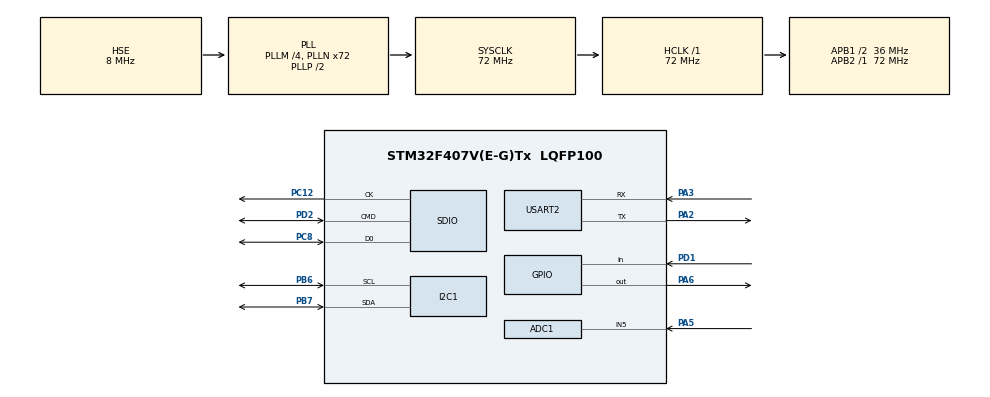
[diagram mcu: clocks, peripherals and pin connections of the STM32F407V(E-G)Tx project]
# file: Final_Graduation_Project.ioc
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ADC1.Channel-2\#ChannelRegularConversion=ADC_CHANNEL_5
ADC1.NbrOfConversionFlag=1
ADC1.Rank-2\#ChannelRegularConversion=1
ADC1.SamplingTime-2\#ChannelRegularConversion=ADC_SAMPLETIME_3CYCLES
ADC1.master=1
FATFS.BSP.number=1
FATFS._MAX_SS=4096
FATFS._USE_LFN=3
FATFS0.BSP.STBoard=false
FATFS0.BSP.api=Unknown
FATFS0.BSP.instance=PD1
FATFS0.BSP.ip=GPIO
FATFS0.BSP.mode=Input
FATFS0.BSP.name=Detect_SDIO
FATFS0.BSP.solution=PD1
Mcu.Family=STM32F4
Mcu.Name=STM32F407V(E-G)Tx
Mcu.Package=LQFP100
NVIC.PriorityGroup=NVIC_PRIORITYGROUP_4
NVIC.TIM6_DAC_IRQn=true\:15\:0\:false\:false\:true\:false\:true\:true
NVIC.TimeBase=TIM6_DAC_IRQn
NVIC.TimeBaseIP=TIM6
NVIC.USART2_IRQn=true\:6\:0\:true\:false\:true\:true\:true\:true
PA13.Mode=Serial_Wire
PA13.Signal=SYS_JTMS-SWDIO
PA14.Mode=Serial_Wire
PA14.Signal=SYS_JTCK-SWCLK
PA2.Mode=Asynchronous
PA2.Signal=USART2_TX
PA3.Mode=Asynchronous
PA3.Signal=USART2_RX
PA5.Signal=ADCx_IN5
PA6.Signal=GPIO_Output
PB6.Mode=I2C
PB6.Signal=I2C1_SCL
PB7.Mode=I2C
PB7.Signal=I2C1_SDA
PC12.Mode=SD_1_bit
PC12.Signal=SDIO_CK
PC14-OSC32_IN.Mode=LSE-External-Oscillator
PC14-OSC32_IN.Signal=RCC_OSC32_IN
PC15-OSC32_OUT.Mode=LSE-External-Oscillator
PC15-OSC32_OUT.Signal=RCC_OSC32_OUT
PC8.Mode=SD_1_bit
PC8.Signal=SDIO_D0
PD1.Signal=GPIO_Input
PD2.Mode=SD_1_bit
PD2.Signal=SDIO_CMD
PH0-OSC_IN.Mode=HSE-External-Oscillator
PH0-OSC_IN.Signal=RCC_OSC_IN
PH1-OSC_OUT.Mode=HSE-External-Oscillator
PH1-OSC_OUT.Signal=RCC_OSC_OUT
ProjectManager.HeapSize=0x200
ProjectManager.StackSize=0x400
ProjectManager.TargetToolchain=STM32CubeIDE
RCC.48MHZClocksFreq_Value=36000000
RCC.AHBFreq_Value=72000000
RCC.APB1CLKDivider=RCC_HCLK_DIV2
RCC.APB1Freq_Value=36000000
RCC.APB1TimFreq_Value=72000000
RCC.APB2Freq_Value=72000000
RCC.APB2TimFreq_Value=72000000
RCC.CortexFreq_Value=72000000
RCC.HCLKFreq_Value=72000000
RCC.HSE_VALUE=8000000
RCC.HSI_VALUE=16000000
RCC.PLLM=4
RCC.PLLN=72
RCC.PLLSourceVirtual=RCC_PLLSOURCE_HSE
RCC.SYSCLKFreq_VALUE=72000000
RCC.SYSCLKSource=RCC_SYSCLKSOURCE_PLLCLK
RCC.VCOOutputFreq_Value=144000000
SDIO.ClockDiv=10
SH.ADCx_IN5.0=ADC1_IN5,IN5
TIM1.Period=65535-1
TIM1.Prescaler=72-1
USART2.VirtualMode=VM_ASYNC
VP_CRC_VS_CRC.Mode=CRC_Activate
VP_FATFS_VS_SDIO.Mode=SDIO
VP_SYS_VS_tim6.Mode=TIM6
VP_TIM1_VS_ClockSourceINT.Mode=Internal
board=custom

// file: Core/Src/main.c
/* USER CODE BEGIN Header */
/**
  ******************************************************************************
  * @file           : main.c
  * @brief          : Main program body
  ******************************************************************************
  * @attention
  *
  * Copyright (c) 2025 STMicroelectronics.
  * All rights reserved.
  *
  * This software is licensed under terms that can be found in the LICENSE file
  * in the root directory of this software component.
  * If no LICENSE file comes with this software, it is provided AS-IS.
  *
  ******************************************************************************
  */
/* USER CODE END Header */
#include "main.h"
#include "fatfs.h"

/* USER CODE BEGIN Includes */
#include "mq135.h"

/* USER CODE END Includes */

/* USER CODE BEGIN PD */
#define MyI2C_LCD I2C_LCD_1

/* USER CODE END PD */

ADC_HandleTypeDef hadc1;

CRC_HandleTypeDef hcrc;

I2C_HandleTypeDef hi2c1;

SD_HandleTypeDef hsd;

TIM_HandleTypeDef htim1;

UART_HandleTypeDef huart2;

/* USER CODE BEGIN PV */
DHT_DataTypedef DHT11_Data;
float Temperature, Humidity;
uint8_t Rh_byte1, Rh_byte2, Temp_byte1, Temp_byte2;
uint16_t SUM; uint8_t Presence = 0;
char str[40];
uint8_t data;
uint8_t bl_rx_buffer[255];
TaskHandle_t cmd_task;
TaskHandle_t measure_task;
TaskHandle_t msg_task;
TaskHandle_t menu_task;
TaskHandle_t led_task;
TaskHandle_t bl_command_task;
TaskHandle_t read_file;
QueueHandle_t q_print;
QueueHandle_t q_data;

TimerHandle_t xTimer;

state curr_state = sMenu;

FATFS FatFs;
FIL Fil;
FRESULT FR_Status;

char TxBuffer[200];

/* USER CODE END PV */

void SystemClock_Config(void);
static void MX_GPIO_Init(void);
static void MX_USART2_UART_Init(void);
static void MX_ADC1_Init(void);
static void MX_I2C1_Init(void);
static void MX_CRC_Init(void);
static void MX_TIM1_Init(void);
static void MX_SDIO_SD_Init(void);

/* USER CODE BEGIN 0 */
void flash_testing(void)
{

	uint8_t protection_mode =2 ;
	uint8_t sector_details = 0x80;

	//Flash option control register (OPTCR)
	volatile uint32_t *pOPTCR = (uint32_t*) 0x40023C14;

	  			//Option byte configuration unlock
			HAL_FLASH_OB_Unlock();

			//wait till no active operation on flash
			while(__HAL_FLASH_GET_FLAG(FLASH_FLAG_BSY) != RESET);

			//here wer are setting read and write protection for the sectors
			//set the 31st bit
			//please refer : Flash option control register (FLASH_OPTCR) in RM
			*pOPTCR |= (1 << 31);

			//put write protection on sectors
	    *pOPTCR &= ~(0xff << 16);
			*pOPTCR |= (sector_details << 16);

			//Set the option start bit (OPTSTRT) in the FLASH_OPTCR register
			*pOPTCR |= ( 1 << 1);

			//wait till no active operation on flash
			while(__HAL_FLASH_GET_FLAG(FLASH_FLAG_BSY) != RESET);

			HAL_FLASH_OB_Lock();
}

/* USER CODE END 0 */

int main(void)
{

  /* MCU Configuration--------------------------------------------------------*/

  /* Reset of all peripherals, Initializes the Flash interface and the Systick. */
  HAL_Init();

  /* Configure the system clock */
  SystemClock_Config();

  /* Initialize all configured peripherals */
  MX_GPIO_Init();
  MX_USART2_UART_Init();
  MX_ADC1_Init();
  MX_I2C1_Init();
  MX_CRC_Init();
  MX_TIM1_Init();
  MX_SDIO_SD_Init();
  MX_FATFS_Init();
  /* USER CODE BEGIN 2 */
//  FR_Status = f_mount(&FatFs, SDPath, 1);
//  if (FR_Status != FR_OK)
//  {
//    snprintf(TxBuffer, sizeof(TxBuffer), "Error! While Mounting SD Card, Error Code: (%i)\r\n", FR_Status);
//    HAL_UART_Transmit(&huart2, (uint8_t*)TxBuffer, strlen(TxBuffer), HAL_MAX_DELAY);
//  }
//  else
//  {
//    snprintf(TxBuffer, sizeof(TxBuffer), "SD Card Mounted Successfully!\r\n");
//    HAL_UART_Transmit(&huart2, (uint8_t*)TxBuffer, strlen(TxBuffer), HAL_MAX_DELAY);
//  }

  HAL_UART_Receive_IT(&huart2, (uint8_t*)&data, 1);

  xTaskCreate(handle_cmd_task, "Handle command", 200, NULL, 2, &cmd_task);

  xTaskCreate(handle_measure_task, "measure qual of env ", 200, NULL, 2, &measure_task);

  xTaskCreate(printmsg, "Display menu", 200, NULL, 2, &msg_task);

  xTaskCreate(handle_menu_task, "Menu options", 200, NULL, 2, &menu_task);

  xTaskCreate(handle_led_task, "LED blinking", 200, NULL, 2, &led_task);

  xTaskCreate(handle_bl_cmd_task, "Bootloader Command Process", 200, NULL, 2, &bl_command_task);

  xTaskCreate(SDIO_SDCard, "read file", 512, NULL, 2, &read_file); // Increased stack size

  xTimer = xTimerCreate("Timer", pdMS_TO_TICKS(500), pdTRUE, 1, vTimerCallback);

  q_print = xQueueCreate(10, sizeof(size_t));

  q_data = xQueueCreate(11, sizeof(uint8_t));

  vTaskStartScheduler();

  /* USER CODE END 2 */

  /* Infinite loop */
  while (1)
  {

  }
}

void SystemClock_Config(void)
{
  RCC_OscInitTypeDef RCC_OscInitStruct = {0};
  RCC_ClkInitTypeDef RCC_ClkInitStruct = {0};

  /** Configure the main internal regulator output voltage
  */
  __HAL_RCC_PWR_CLK_ENABLE();
  __HAL_PWR_VOLTAGESCALING_CONFIG(PWR_REGULATOR_VOLTAGE_SCALE1);

  /** Initializes the RCC Oscillators according to the specified parameters
  * in the RCC_OscInitTypeDef structure.
  */
  RCC_OscInitStruct.OscillatorType = RCC_OSCILLATORTYPE_HSE;
  RCC_OscInitStruct.HSEState = RCC_HSE_ON;
  RCC_OscInitStruct.PLL.PLLState = RCC_PLL_ON;
  RCC_OscInitStruct.PLL.PLLSource = RCC_PLLSOURCE_HSE;
  RCC_OscInitStruct.PLL.PLLM = 4;
  RCC_OscInitStruct.PLL.PLLN = 72;
  RCC_OscInitStruct.PLL.PLLP = RCC_PLLP_DIV2;
  RCC_OscInitStruct.PLL.PLLQ = 4;
  if (HAL_RCC_OscConfig(&RCC_OscInitStruct) != HAL_OK)
  {
    Error_Handler();
  }

  /** Initializes the CPU, AHB and APB buses clocks
  */
  RCC_ClkInitStruct.ClockType = RCC_CLOCKTYPE_HCLK|RCC_CLOCKTYPE_SYSCLK
                              |RCC_CLOCKTYPE_PCLK1|RCC_CLOCKTYPE_PCLK2;
  RCC_ClkInitStruct.SYSCLKSource = RCC_SYSCLKSOURCE_PLLCLK;
  RCC_ClkInitStruct.AHBCLKDivider = RCC_SYSCLK_DIV1;
  RCC_ClkInitStruct.APB1CLKDivider = RCC_HCLK_DIV2;
  RCC_ClkInitStruct.APB2CLKDivider = RCC_HCLK_DIV1;

  if (HAL_RCC_ClockConfig(&RCC_ClkInitStruct, FLASH_LATENCY_2) != HAL_OK)
  {
    Error_Handler();
  }
}

static void MX_ADC1_Init(void)
{

  ADC_ChannelConfTypeDef sConfig = {0};

  /** Configure the global features of the ADC (Clock, Resolution, Data Alignment and number of conversion)
  */
  hadc1.Instance = ADC1;
  hadc1.Init.ClockPrescaler = ADC_CLOCK_SYNC_PCLK_DIV2;
  hadc1.Init.Resolution = ADC_RESOLUTION_12B;
  hadc1.Init.ScanConvMode = DISABLE;
  hadc1.Init.ContinuousConvMode = DISABLE;
  hadc1.Init.DiscontinuousConvMode = DISABLE;
  hadc1.Init.ExternalTrigConvEdge = ADC_EXTERNALTRIGCONVEDGE_NONE;
  hadc1.Init.ExternalTrigConv = ADC_SOFTWARE_START;
  hadc1.Init.DataAlign = ADC_DATAALIGN_RIGHT;
  hadc1.Init.NbrOfConversion = 1;
  hadc1.Init.DMAContinuousRequests = DISABLE;
  hadc1.Init.EOCSelection = ADC_EOC_SINGLE_CONV;
  if (HAL_ADC_Init(&hadc1) != HAL_OK)
  {
    Error_Handler();
  }

  /** Configure for the selected ADC regular channel its corresponding rank in the sequencer and its sample time.
  */
  sConfig.Channel = ADC_CHANNEL_5;
  sConfig.Rank = 1;
  sConfig.SamplingTime = ADC_SAMPLETIME_3CYCLES;
  if (HAL_ADC_ConfigChannel(&hadc1, &sConfig) != HAL_OK)
  {
    Error_Handler();
  }

}

static void MX_CRC_Init(void)
{

  hcrc.Instance = CRC;
  if (HAL_CRC_Init(&hcrc) != HAL_OK)
  {
    Error_Handler();
  }

}

static void MX_I2C1_Init(void)
{

  hi2c1.Instance = I2C1;
  hi2c1.Init.ClockSpeed = 100000;
  hi2c1.Init.DutyCycle = I2C_DUTYCYCLE_2;
  hi2c1.Init.OwnAddress1 = 0;
  hi2c1.Init.AddressingMode = I2C_ADDRESSINGMODE_7BIT;
  hi2c1.Init.DualAddressMode = I2C_DUALADDRESS_DISABLE;
  hi2c1.Init.OwnAddress2 = 0;
  hi2c1.Init.GeneralCallMode = I2C_GENERALCALL_DISABLE;
  hi2c1.Init.NoStretchMode = I2C_NOSTRETCH_DISABLE;
  if (HAL_I2C_Init(&hi2c1) != HAL_OK)
  {
    Error_Handler();
  }

}

static void MX_SDIO_SD_Init(void)
{

  hsd.Instance = SDIO;
  hsd.Init.ClockEdge = SDIO_CLOCK_EDGE_RISING;
  hsd.Init.ClockBypass = SDIO_CLOCK_BYPASS_DISABLE;
  hsd.Init.ClockPowerSave = SDIO_CLOCK_POWER_SAVE_DISABLE;
  hsd.Init.BusWide = SDIO_BUS_WIDE_1B;
  hsd.Init.HardwareFlowControl = SDIO_HARDWARE_FLOW_CONTROL_DISABLE;
  hsd.Init.ClockDiv = 10;

}

static void MX_TIM1_Init(void)
{

  TIM_ClockConfigTypeDef sClockSourceConfig = {0};
  TIM_MasterConfigTypeDef sMasterConfig = {0};

  htim1.Instance = TIM1;
  htim1.Init.Prescaler = 72-1;
  htim1.Init.CounterMode = TIM_COUNTERMODE_UP;
  htim1.Init.Period = 65535-1;
  htim1.Init.ClockDivision = TIM_CLOCKDIVISION_DIV1;
  htim1.Init.RepetitionCounter = 0;
  htim1.Init.AutoReloadPreload = TIM_AUTORELOAD_PRELOAD_DISABLE;
  if (HAL_TIM_Base_Init(&htim1) != HAL_OK)
  {
    Error_Handler();
  }
  sClockSourceConfig.ClockSource = TIM_CLOCKSOURCE_INTERNAL;
  if (HAL_TIM_ConfigClockSource(&htim1, &sClockSourceConfig) != HAL_OK)
  {
    Error_Handler();
  }
  sMasterConfig.MasterOutputTrigger = TIM_TRGO_RESET;
  sMasterConfig.MasterSlaveMode = TIM_MASTERSLAVEMODE_DISABLE;
  if (HAL_TIMEx_MasterConfigSynchronization(&htim1, &sMasterConfig) != HAL_OK)
  {
    Error_Handler();
  }
  /* USER CODE BEGIN TIM1_Init 2 */
  HAL_TIM_Base_Start(&htim1);

  /* USER CODE END TIM1_Init 2 */

}

static void MX_USART2_UART_Init(void)
{

  huart2.Instance = USART2;
  huart2.Init.BaudRate = 115200;
  huart2.Init.WordLength = UART_WORDLENGTH_8B;
  huart2.Init.StopBits = UART_STOPBITS_1;
  huart2.Init.Parity = UART_PARITY_NONE;
  huart2.Init.Mode = UART_MODE_TX_RX;
  huart2.Init.HwFlowCtl = UART_HWCONTROL_NONE;
  huart2.Init.OverSampling = UART_OVERSAMPLING_16;
  if (HAL_UART_Init(&huart2) != HAL_OK)
  {
    Error_Handler();
  }

}

static void MX_GPIO_Init(void)
{
  GPIO_InitTypeDef GPIO_InitStruct = {0};

  /* GPIO Ports Clock Enable */
  __HAL_RCC_GPIOC_CLK_ENABLE();
  __HAL_RCC_GPIOH_CLK_ENABLE();
  __HAL_RCC_GPIOA_CLK_ENABLE();
  __HAL_RCC_GPIOD_CLK_ENABLE();
  __HAL_RCC_GPIOB_CLK_ENABLE();

  /*Configure GPIO pin Output Level */
  HAL_GPIO_WritePin(GPIOA, GPIO_PIN_6, GPIO_PIN_RESET);

  /*Configure GPIO pin : PA6 */
  GPIO_InitStruct.Pin = GPIO_PIN_6;
  GPIO_InitStruct.Mode = GPIO_MODE_OUTPUT_PP;
  GPIO_InitStruct.Pull = GPIO_NOPULL;
  GPIO_InitStruct.Speed = GPIO_SPEED_FREQ_LOW;
  HAL_GPIO_Init(GPIOA, &GPIO_InitStruct);

  /*Configure GPIO pin : PD1 */
  GPIO_InitStruct.Pin = GPIO_PIN_1;
  GPIO_InitStruct.Mode = GPIO_MODE_INPUT;
  GPIO_InitStruct.Pull = GPIO_NOPULL;
  HAL_GPIO_Init(GPIOD, &GPIO_InitStruct);

}

/* USER CODE BEGIN 4 */

void vTimerCallback (TimerHandle_t xTimer)
{
	HAL_GPIO_TogglePin(GPIOA, GPIO_PIN_6);
}

void handle_measure_task(void *params)
{
	char str[40];
	float co2_sense = 0;
	I2C_LCD_Init(MyI2C_LCD);
	while(1)
	{
		DHT_GetData(&DHT11_Data);
		Temperature = DHT11_Data.Temperature;
		Humidity = DHT11_Data.Humidity;
		HAL_ADC_Start(&hadc1);
		co2_sense = getPPM();
		sprintf(str, "Temperature: %.0f", Temperature);
		I2C_LCD_Clear(MyI2C_LCD);
		I2C_LCD_SetCursor(MyI2C_LCD, 0, 0);
		I2C_LCD_WriteString(MyI2C_LCD, str);
		I2C_LCD_WriteChar(MyI2C_LCD, (char)223);
		I2C_LCD_WriteChar(MyI2C_LCD, 'C');
		sprintf(str, "Humidity: %.0fRH", Humidity);
		I2C_LCD_SetCursor(MyI2C_LCD, 0, 1);
		I2C_LCD_WriteString(MyI2C_LCD, str);
		sprintf(str, "rela_ppm: %.4f", co2_sense);
		I2C_LCD_SetCursor(MyI2C_LCD, 0, 2);
		I2C_LCD_WriteString(MyI2C_LCD, str);
//		I2C_LCD_SetCursor(MyI2C_LCD, 0, 1);
		vTaskDelay(pdMS_TO_TICKS(1000));

	}
}

void delay_us(volatile uint16_t us)
{
//	taskENTER_CRITICAL();
	htim1.Instance->CNT = 0;
	while (htim1.Instance->CNT < us);
//	taskEXIT_CRITICAL();
}

void delay_ms(volatile uint16_t ms)
{
//	taskENTER_CRITICAL();
	while(ms > 0)
	{
		htim1.Instance->CNT = 0;
		ms--;
		while (htim1.Instance->CNT < 1000);
	}
//	taskEXIT_CRITICAL();
}

void Set_Pin_Output(GPIO_TypeDef *GPIOx, uint16_t GPIO_Pin) {
    GPIO_InitTypeDef GPIO_InitStruct = {0};
    GPIO_InitStruct.Pin = GPIO_PIN_15;
    GPIO_InitStruct.Mode = GPIO_MODE_OUTPUT_PP;
    GPIO_InitStruct.Pull = GPIO_NOPULL;
    GPIO_InitStruct.Speed = GPIO_SPEED_FREQ_LOW;
    HAL_GPIO_Init(GPIOB, &GPIO_InitStruct);
}

void Set_Pin_Input(GPIO_TypeDef *GPIOx, uint16_t GPIO_Pin) {
    GPIO_InitTypeDef GPIO_InitStruct = {0};
    GPIO_InitStruct.Pin = GPIO_PIN_15;
    GPIO_InitStruct.Mode = GPIO_MODE_INPUT;
    GPIO_InitStruct.Pull = GPIO_NOPULL;
    HAL_GPIO_Init(GPIOB, &GPIO_InitStruct);
}

// DHT11 start signal
void DHT_Start(void) {
    Set_Pin_Output(GPIOB, GPIO_PIN_15); // Set pin as output
    HAL_GPIO_WritePin(GPIOB, GPIO_PIN_15, 0); // Pull low
    delay_ms(18); // Wait 18 ms
    HAL_GPIO_WritePin(GPIOB, GPIO_PIN_15, 1); // Pull high
    delay_us(30); // Wait 20–40 µs (30 µs is a safe midpoint)
    Set_Pin_Input(GPIOB, GPIO_PIN_15); // Set pin as input
}

// Check DHT11 response
uint8_t DHT_Check_Response(void) {
    uint8_t Response = 0;
    delay_us(40); // Wait for end of 80 µs low pulse
    if (!HAL_GPIO_ReadPin(GPIOB, GPIO_PIN_15)) { // Low pulse detected
        delay_us(80); // Wait for 80 µs high pulse
        if (HAL_GPIO_ReadPin(GPIOB, GPIO_PIN_15)) { // High pulse detected
            Response = 1; // Valid response
        } else {
            Response = 0; // No high pulse
        }
    }
    while (HAL_GPIO_ReadPin(GPIOB, GPIO_PIN_15));
    return Response;
}

// Read one byte from DHT11
uint8_t DHT_Read(void) {
	uint8_t i,j;
	for (j=0;j<8;j++)
	{
		while (!(HAL_GPIO_ReadPin (GPIOB, GPIO_PIN_15)));   // wait for the pin to go high
		delay_us(40);   // wait for 40 us
		if (!(HAL_GPIO_ReadPin (GPIOB, GPIO_PIN_15)))   // if the pin is low
		{
			i&= ~(1<<(7-j));   // write 0
		}
		else i|= (1<<(7-j));  // if the pin is high, write 1
		while ((HAL_GPIO_ReadPin (GPIOB, GPIO_PIN_15)));  // wait for the pin to go low
	}
	return i;
}
void DHT_GetData(DHT_DataTypedef *DHT_Data)
{
	DHT_Start();
	Presence = DHT_Check_Response ();
	Rh_byte1 = DHT_Read ();
	Rh_byte2 = DHT_Read ();
	Temp_byte1 = DHT_Read ();
	Temp_byte2 = DHT_Read ();
	SUM = DHT_Read();

	if (SUM == (Rh_byte1+Rh_byte2+Temp_byte1+Temp_byte2))
	{
			DHT_Data->Temperature = Temp_byte1;
			DHT_Data->Humidity = Rh_byte1;

	}
}

void SDIO_SDCard(void *params)
{
	UINT WWC, bytesRead;
	uint32_t mem_address;
	while(1){
		// Ensure SD card is mounted
	xTaskNotifyWait(0,0,&mem_address,portMAX_DELAY);
	vTaskSuspendAll();
	FR_Status = f_mount(&FatFs, SDPath, 1);
	if (FR_Status != FR_OK)
	{
		sprintf(TxBuffer, "Error! While Mounting SD Card, Error Code: (%i)\r\n", FR_Status);
		HAL_UART_Transmit(&huart2, (uint8_t*)TxBuffer, strlen(TxBuffer), HAL_MAX_DELAY);
	}
	else
	{
		sprintf(TxBuffer, "SD Card Mounted Successfully!\r\n");
		HAL_UART_Transmit(&huart2, (uint8_t*)TxBuffer, strlen(TxBuffer), HAL_MAX_DELAY);
	}
		FATFS *FS_Ptr;
		DWORD FreeClusters;
		uint32_t TotalSize, FreeSpace;
		volatile uint32_t bytes_remaining = 0;
		volatile uint32_t bytes_so_far_sent = 0;
		volatile uint32_t len_to_read = 0;
		bl_rx_buffer[1] = BL_MEM_WRITE;

		// Get & Print SD Card Size & Free Space
		f_getfree("", &FreeClusters, &FS_Ptr);
		TotalSize = (uint32_t)((FS_Ptr->n_fatent - 2) * FS_Ptr->csize * 0.5);
		FreeSpace = (uint32_t)(FreeClusters * FS_Ptr->csize * 0.5);
		sprintf(TxBuffer, "Total SD Card Size: %lu Bytes\r\n", TotalSize);
		HAL_UART_Transmit(&huart2, (uint8_t*)TxBuffer, strlen(TxBuffer), HAL_MAX_DELAY);
		sprintf(TxBuffer, "Free SD Card Space: %lu Bytes\r\n\n", FreeSpace);
		HAL_UART_Transmit(&huart2, (uint8_t*)TxBuffer, strlen(TxBuffer), HAL_MAX_DELAY);

		// Open a Text File for Write & Write Data
		FR_Status = f_open(&Fil, "Update_Final_Graduation_Project.bin", FA_READ);
		if (FR_Status != FR_OK)
		{
		  sprintf(TxBuffer, "Error! While Creating/Opening A New Text File, Error Code: (%i)\r\n", FR_Status);
		  HAL_UART_Transmit(&huart2, (uint8_t*)TxBuffer, strlen(TxBuffer), HAL_MAX_DELAY);
		}

	    // Get file size
	    uint32_t fileSize = f_size(&Fil);
	    bytes_remaining = fileSize - bytes_so_far_sent;
	    while(bytes_remaining)
	    {
	    	if (bytes_remaining >= 128)
	    	{
	    		len_to_read = 128;
	    	}
	    	else
	    	{
	    		len_to_read = bytes_remaining;
	    	}
		    FR_Status = f_read(&Fil, &bl_rx_buffer[7], len_to_read, &bytesRead);
		    sprintf(TxBuffer, "\n   base mem address = %#.8x\n", mem_address);
		    HAL_UART_Transmit(&huart2, (uint8_t*)TxBuffer, strlen(TxBuffer), HAL_MAX_DELAY);
		    if (FR_Status != FR_OK) {
		        f_close(&Fil);
		        f_mount(NULL, "", 0); // Unmount
		    }
		    bl_rx_buffer[2] = word_to_byte(mem_address, 1, 1);
		    bl_rx_buffer[3] = word_to_byte(mem_address, 2, 1);
		    bl_rx_buffer[4] = word_to_byte(mem_address, 3, 1);
		    bl_rx_buffer[5] = word_to_byte(mem_address, 4, 1);
		    bl_rx_buffer[6] = len_to_read;

		    uint32_t mem_write_cmd_total_len = COMMAND_BL_MEM_WRITE_LEN + len_to_read;

		    bl_rx_buffer[0] = mem_write_cmd_total_len - 1;
		    uint32_t crc32 = get_crc(bl_rx_buffer, mem_write_cmd_total_len-4);
		    bl_rx_buffer[7+len_to_read] = word_to_byte(crc32, 1, 1);
		    bl_rx_buffer[8+len_to_read] = word_to_byte(crc32, 2, 1);
		    bl_rx_buffer[9+len_to_read] = word_to_byte(crc32, 3, 1);
		    bl_rx_buffer[10+len_to_read] = word_to_byte(crc32, 4, 1);
		    mem_address+= len_to_read;
		    bytes_so_far_sent+=len_to_read;
		    bytes_remaining = fileSize - bytes_so_far_sent;
		    sprintf(TxBuffer,"\n\n    bytes_so_far_sent:%d -- bytes_remaining:%d\n",bytes_so_far_sent,bytes_remaining);
		    HAL_UART_Transmit(&huart2, (uint8_t*)TxBuffer, strlen(TxBuffer), HAL_MAX_DELAY);
		    bootloader_read_data(bl_rx_buffer);

	    }
	    // Read file contents into buffer
	    f_close(&Fil);
		xTaskResumeAll();
	}
}

void HAL_UART_RxCpltCallback(UART_HandleTypeDef *huart)
{
	uint8_t dummy;
	if(xQueueIsQueueFullFromISR(q_data) == pdFALSE)
	{
		xQueueSendFromISR(q_data, &data, NULL);
	}
	else
	{
		if (data == '\n')
		{
			xQueueReceiveFromISR(q_data, &dummy, NULL);
			xQueueSendFromISR(q_data, &data, NULL);
		}

	}
	if (data == '\n')
	{
		xTaskNotifyFromISR(cmd_task, 0, eNoAction, NULL);
	}
	HAL_UART_Receive_IT(&huart2, (uint8_t*)&data, 1);
}

/* USER CODE END 4 */

void HAL_TIM_PeriodElapsedCallback(TIM_HandleTypeDef *htim)
{
  if (htim->Instance == TIM6) {
    HAL_IncTick();
  }
}

void Error_Handler(void)
{
  __disable_irq();
  while (1)
  {
  }
}
